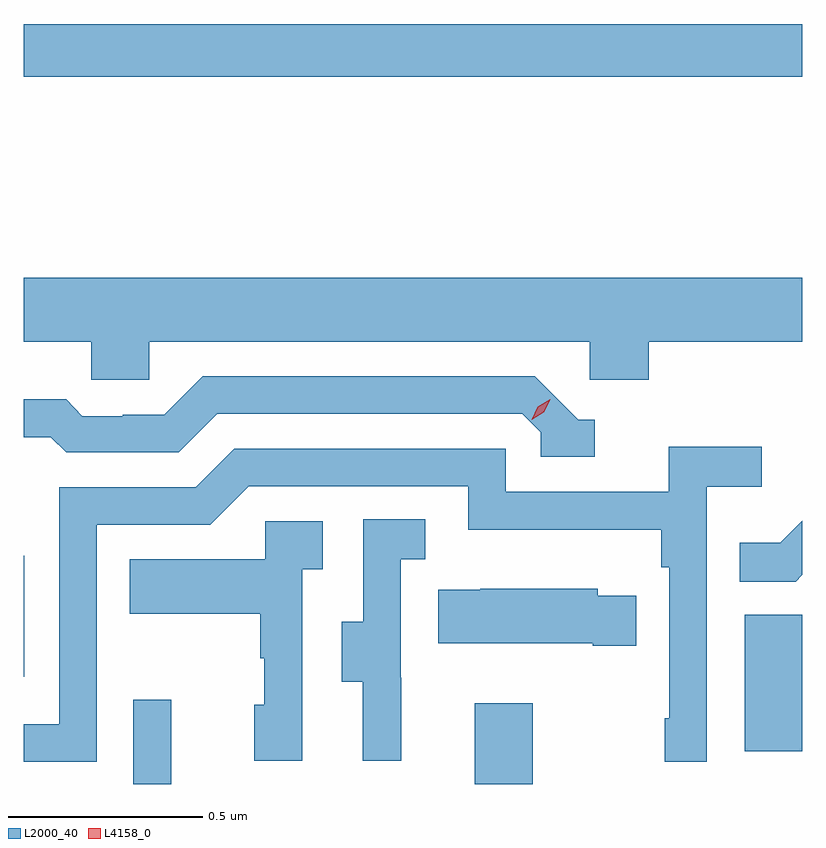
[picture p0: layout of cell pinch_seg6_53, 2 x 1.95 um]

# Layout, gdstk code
import gdstk
lib = gdstk.Library(unit=1e-6, precision=1e-09)
def R(c, l, rs):  # rectangles x0, y0, x1, y1
    for r in rs: c.add(gdstk.rectangle(r[:2], r[2:], *l))
def P(c, l, *ps):  # polygons
    for p in ps: c.add(gdstk.Polygon(p, *l))
L2000_40 = (2000, 40)
L4158_0 = (4158, 0)

pinch_seg6_53 = lib.new_cell('pinch_seg6_53')
R(pinch_seg6_53, L2000_40, [(985.173,939.54,985.271,939.757), (986.051,939.54,986.199,939.748), (986.744,939.624,986.892,939.975), (984.892,939.816,984.894,940.126), (984.892,941.356,986.892,941.492)])
P(pinch_seg6_53, L2000_40, [(985.215,940.676),(986.346,940.676),(986.346,940.578),(986.498,940.578),(986.498,940.676),(986.892,940.676),(986.892,940.84),(984.892,940.84),(984.892,940.676),(985.065,940.676),(985.065,940.578),(985.215,940.578)],
  [(986.359,940.476),(986.316,940.476),(986.205,940.587),(985.352,940.587),(985.253,940.488),(985.146,940.488),(985.146,940.485),(985.043,940.485),(985.001,940.528),(984.892,940.528),(984.892,940.431),(984.962,940.431),(985.001,940.392),(985.29,940.392),(985.389,940.491),(986.172,940.491),(986.22,940.443),(986.22,940.38),(986.359,940.38)],
  [(985.08,940.206),(985.371,940.206),(985.47,940.305),(986.034,940.305),(986.034,940.193),(986.53,940.193),(986.53,940.097),(986.55,940.097),(986.55,939.709),(986.538,939.709),(986.538,939.597),(986.646,939.597),(986.646,940.304),(986.788,940.304),(986.788,940.406),(986.549,940.406),(986.549,940.29),(986.13,940.29),(986.13,940.401),(985.433,940.401),(985.334,940.302),(984.984,940.302),(984.984,939.693),(984.892,939.693),(984.892,939.597),(985.08,939.597)],
  [(985.862,939.813),(985.86,939.813),(985.86,940.117),(985.924,940.117),(985.924,940.22),(985.764,940.22),(985.764,939.957),(985.709,939.957),(985.709,939.802),(985.763,939.802),(985.763,939.6),(985.862,939.6)],
  [(986.892,940.077),(986.892,940.216),(986.835,940.159),(986.731,940.159),(986.731,940.06),(986.875,940.06)],
  [(985.608,940.091),(985.66,940.091),(985.66,940.215),(985.512,940.215),(985.512,940.117),(985.165,940.117),(985.165,939.977),(985.5,939.977),(985.5,939.863),(985.51,939.863),(985.51,939.744),(985.484,939.744),(985.484,939.6),(985.608,939.6)],
  [(986.465,940.024),(986.367,940.024),(986.367,940.042),(986.065,940.042),(986.065,940.039),(985.957,940.039),(985.957,939.902),(986.354,939.902),(986.354,939.895),(986.465,939.895)])
P(pinch_seg6_53, L4158_0, [(986.197,940.476),(986.197,940.476),(986.213,940.509),(986.244,940.528),(986.244,940.528),(986.244,940.527),(986.228,940.495),(986.197,940.476)])

lib.write_gds('pinch_seg6_53.gds')
